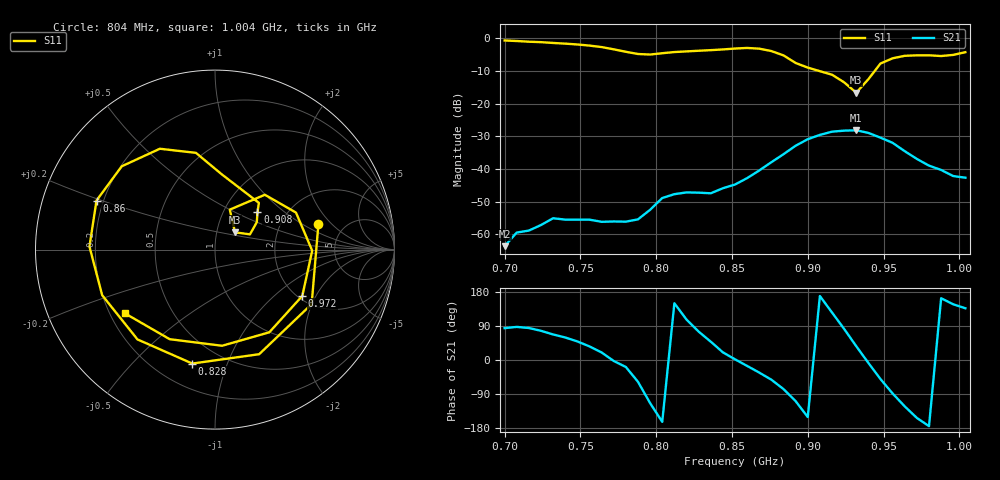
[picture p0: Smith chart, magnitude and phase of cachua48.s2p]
# Hz S RI R 50
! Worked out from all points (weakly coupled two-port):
!   39 points, 700 MHz to 1.004 GHz, reference 50 ohm
!   highest |S21| = -28.14 dB at 932 MHz (marker M1); lowest = -63.6 dB at 700 MHz (marker M2)
!   lowest |S11| = -16.6 dB at 932 MHz (marker M3), VSWR 1.35, Z = 61.3 + j12.1 ohm
!   |S11| at or under -10 dB: 907.7 MHz to 944.1 MHz (36.41 MHz wide, 3.93 % of centre)
!   S12 and S22 are empty: the file has one direction only
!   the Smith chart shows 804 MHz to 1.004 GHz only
!   S11 on the Smith chart (normalised r, x): 804 MHz: 3.24, +1.42; 828 MHz: 0.35, -0.76; 860 MHz: 0.17, +0.19; 908 MHz: 1.44, +0.66; 972 MHz: 2.11, -1.56; 1.004 GHz: 0.26, -0.30
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7e8  0.7643 0.5308  6.72e-05 0.000655  0 0  0 0
7.24e8  0.8359 -0.2644  0.000311 0.00135  0 0  0 0
7.4e8  0.4442 -0.7033  0.000854 0.00144  0 0  0 0
7.56e8  -0.1984 -0.7508  0.00136 0.000982  0 0  0 0
7.72e8  -0.6537 -0.1884  0.00157 -7.13e-05  0 0  0 0
7.8e8  -0.5789 0.2334  0.00148 -0.000495  0 0  0 0
7.88e8  -0.2225 0.5326  0.000909 -0.00143  0 0  0 0
7.96e8  0.2619 0.502  -0.000961 -0.00217  0 0  0 0
8.04e8  0.5762 0.142  -0.00344 -0.00104  0 0  0 0
8.2e8  0.2461 -0.5828  -0.00126 0.0042  0 0  0 0
8.28e8  -0.1265 -0.6348  0.00112 0.0042  0 0  0 0
8.52e8  -0.6995 0.017  0.00578 0.00018  0 0  0 0
8.6e8  -0.6601 0.2735  0.00699 -0.00195  0 0  0 0
8.76e8  -0.3072 0.5619  0.00782 -0.01  0 0  0 0
9e8  0.2444 0.2607  -0.0249 -0.0141  0 0  0 0
9.08e8  0.2368 0.2077  -0.0327 0.00645  0 0  0 0
9.32e8  0.1119 0.0962  0.0316 0.0232  0 0  0 0
9.4e8  0.0823 0.2226  0.0354 -0.00481  0 0  0 0
9.56e8  0.4514 0.2061  0.000685 -0.0252  0 0  0 0
9.72e8  0.4865 -0.2581  -0.0127 -0.00648  0 0  0 0
9.88e8  0.0395 -0.5358  -0.00925 0.00283  0 0  0 0
1.004e9  -0.503 -0.3546  -0.00534 0.00507  0 0  0 0
